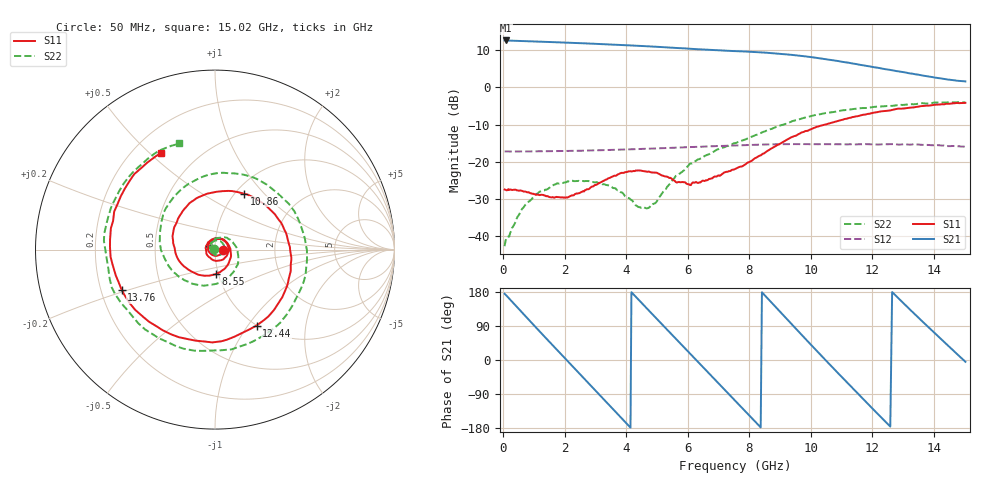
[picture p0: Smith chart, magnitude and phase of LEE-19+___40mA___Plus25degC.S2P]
! Mini-Circuits
! S2P DATA File Format
! Type: MMIC Amplifier
! Model: LEE-19+
! TEST CONDITIONS: INPUT POWER = -20dBm, Icc = 40mA, Vd = 3.64V @Temperature = +25degC
! 401 Frequency points
! S Parameters are in dB deg format
# MHz S DB R 50
!  FREQ  dB(S11)  PHS(S11)  dB(S21)  PHS(S21)  dB(S12)  PHS(S12)  dB(S22)  PHS(S22)
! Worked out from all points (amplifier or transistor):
!   401 points, 50 MHz to 15.02 GHz, reference 50 ohm
!   highest |S21| = 12.6 dB at 80 MHz (marker M1)
!   |S21| within 3 dB of that: start of sweep to 7.937 GHz
!   unconditionally stable (mu >= 1): start of sweep to end of sweep
!   at 2.03 GHz: K = 1.17, MAG = 12.0 dB, |S12| = -17.1 dB
!   at 6.55 GHz: K = 1.22, MAG = 10.2 dB, |S12| = -15.9 dB
!   at 15.02 GHz: K = 1.25, MAG = 5.7 dB, |S12| = -15.9 dB
!   S11 on the Smith chart (normalised r, x): 50 MHz: 1.09, -0.00; 8.55 GHz: 0.97, -0.27; 10.86 GHz: 1.09, +0.78; 12.44 GHz: 1.00, -1.10; 13.76 GHz: 0.29, -0.19; 15.02 GHz: 0.31, +0.55
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50  -27.42 -1.6  12.55 174.9  -17.21 -3.7  -42.62 150.7
80  -27.51 -1.5  12.55 172.5  -17.22 -5.6  -41.21 175.8
680  -27.98 -40.8  12.38 119.7  -17.21 -47.2  -32.07 173.4
1160  -28.88 -69.1  12.24 77.9  -17.18 -80.6  -28.18 133.6
1880  -29.58 -123.2  12.02 15.6  -17.11 -130.7  -25.70 80.3
2570  -28.01 169.1  11.80 -43.8  -17.01 -179.0  -25.14 34.4
3230  -25.25 104.2  11.56 -100.6  -16.87 134.7  -26.02 -7.7
3960  -22.79 39.8  11.29 -163.1  -16.70 83.1  -29.21 -60.9
5050  -23.18 -56.5  10.83 103.8  -16.37 5.4  -29.83 144.6
5540  -24.93 -109.1  10.59 62.1  -16.22 -30.1  -24.54 90.0
6240  -25.54 162.5  10.24 2.8  -16.00 -81.1  -19.86 29.7
6970  -23.74 76.8  9.91 -58.8  -15.78 -134.7  -16.69 -28.3
7570  -21.80 14.6  9.69 -109.5  -15.59 -179.1  -14.92 -74.2
8550  -17.28 -88.6  9.27 166.5  -15.35 107.4  -11.65 -150.8
9280  -13.81 -158.1  8.78 102.9  -15.26 52.1  -9.49 153.4
10050  -11.08 130.6  8.04 36.2  -15.27 -5.5  -7.62 96.8
10860  -9.07 62.7  7.06 -32.8  -15.27 -66.2  -6.46 36.6
11560  -7.67 4.2  6.08 -91.5  -15.28 -117.8  -5.68 -13.0
12440  -6.33 -61.3  4.81 -164.2  -15.28 176.7  -5.06 -77.2
12580  -6.20 -73.0  4.66 -175.8  -15.25 166.1  -5.01 -86.4
13760  -4.94 -156.7  2.97 91.1  -15.44 77.4  -4.38 -168.9
15020  -4.19 118.9  1.57 -4.8  -15.93 -12.4  -4.10 108.5
